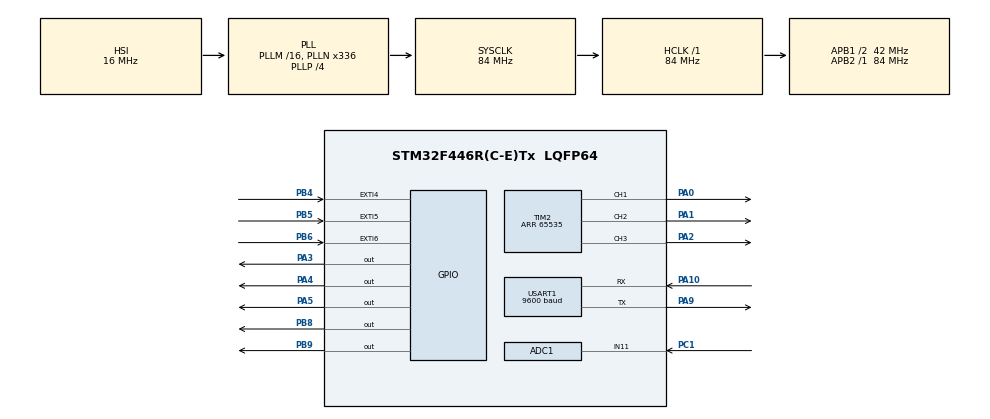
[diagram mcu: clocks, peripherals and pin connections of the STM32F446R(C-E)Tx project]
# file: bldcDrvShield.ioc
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ADC1.Channel-1\#ChannelRegularConversion=ADC_CHANNEL_11
ADC1.Channel-2\#ChannelRegularConversion=ADC_CHANNEL_11
ADC1.Channel-3\#ChannelRegularConversion=ADC_CHANNEL_11
ADC1.Channel-4\#ChannelRegularConversion=ADC_CHANNEL_11
ADC1.Channel-5\#ChannelRegularConversion=ADC_CHANNEL_11
ADC1.ContinuousConvMode=ENABLE
ADC1.EOCSelection=ADC_EOC_SEQ_CONV
ADC1.NbrOfConversion=5
ADC1.NbrOfConversionFlag=1
ADC1.Rank-1\#ChannelRegularConversion=1
ADC1.Rank-2\#ChannelRegularConversion=2
ADC1.Rank-3\#ChannelRegularConversion=3
ADC1.Rank-4\#ChannelRegularConversion=4
ADC1.Rank-5\#ChannelRegularConversion=5
ADC1.SamplingTime-1\#ChannelRegularConversion=ADC_SAMPLETIME_3CYCLES
ADC1.SamplingTime-2\#ChannelRegularConversion=ADC_SAMPLETIME_3CYCLES
ADC1.SamplingTime-3\#ChannelRegularConversion=ADC_SAMPLETIME_3CYCLES
ADC1.SamplingTime-4\#ChannelRegularConversion=ADC_SAMPLETIME_3CYCLES
ADC1.SamplingTime-5\#ChannelRegularConversion=ADC_SAMPLETIME_3CYCLES
ADC1.ScanConvMode=ENABLE
ADC1.master=1
Mcu.Family=STM32F4
Mcu.Name=STM32F446R(C-E)Tx
Mcu.Package=LQFP64
NVIC.EXTI4_IRQn=true\:0\:0\:false\:false\:true\:true\:true\:true
NVIC.EXTI9_5_IRQn=true\:0\:0\:false\:false\:true\:true\:true\:true
NVIC.PriorityGroup=NVIC_PRIORITYGROUP_0
NVIC.USART1_IRQn=true\:0\:0\:false\:false\:true\:true\:true\:true
PA0-WKUP.GPIO_Speed=GPIO_SPEED_FREQ_LOW
PA0-WKUP.Signal=S_TIM2_CH1_ETR
PA1.Signal=S_TIM2_CH2
PA10.Mode=Asynchronous
PA10.Signal=USART1_RX
PA13.GPIO_Label=TMS
PA13.Mode=Serial_Wire
PA13.Signal=SYS_JTMS-SWDIO
PA14.GPIO_Label=TCK
PA14.Mode=Serial_Wire
PA14.Signal=SYS_JTCK-SWCLK
PA2.Signal=S_TIM2_CH3
PA3.Signal=GPIO_Output
PA4.Signal=GPIO_Output
PA5.Signal=GPIO_Output
PA9.Mode=Asynchronous
PA9.Signal=USART1_TX
PB3.GPIO_Label=SWO
PB3.Signal=SYS_JTDO-SWO
PB4.GPIO_ModeDefaultEXTI=GPIO_MODE_IT_RISING_FALLING
PB4.GPIO_PuPd=GPIO_NOPULL
PB4.Signal=GPXTI4
PB5.GPIO_ModeDefaultEXTI=GPIO_MODE_IT_RISING_FALLING
PB5.GPIO_PuPd=GPIO_NOPULL
PB5.Signal=GPXTI5
PB6.GPIO_ModeDefaultEXTI=GPIO_MODE_IT_RISING_FALLING
PB6.GPIO_PuPd=GPIO_NOPULL
PB6.Signal=GPXTI6
PB8.Signal=GPIO_Output
PB9.Signal=GPIO_Output
PC1.Signal=ADCx_IN11
PC14-OSC32_IN.Mode=LSE-External-Oscillator
PC14-OSC32_IN.Signal=RCC_OSC32_IN
PC15-OSC32_OUT.Mode=LSE-External-Oscillator
PC15-OSC32_OUT.Signal=RCC_OSC32_OUT
PH0-OSC_IN.Mode=HSE-External-Oscillator
PH0-OSC_IN.Signal=RCC_OSC_IN
PH1-OSC_OUT.Mode=HSE-External-Oscillator
PH1-OSC_OUT.Signal=RCC_OSC_OUT
ProjectManager.HeapSize=0x200
ProjectManager.StackSize=0x400
ProjectManager.TargetToolchain=STM32CubeIDE
RCC.48MHZClocksFreq_Value=84000000
RCC.AHBFreq_Value=84000000
RCC.APB1CLKDivider=RCC_HCLK_DIV2
RCC.APB1Freq_Value=42000000
RCC.APB1TimFreq_Value=84000000
RCC.APB2Freq_Value=84000000
RCC.APB2TimFreq_Value=84000000
RCC.CortexFreq_Value=84000000
RCC.FLatency-AdvancedSettings=FLASH_LATENCY_2
RCC.HCLKFreq_Value=84000000
RCC.HSE_VALUE=8000000
RCC.HSI_VALUE=16000000
RCC.PLLN=336
RCC.PLLP=RCC_PLLP_DIV4
RCC.SYSCLKFreq_VALUE=84000000
RCC.SYSCLKSource=RCC_SYSCLKSOURCE_PLLCLK
RCC.USBFreq_Value=168000000
RCC.VCOOutputFreq_Value=336000000
SH.ADCx_IN11.0=ADC1_IN11,IN11
SH.S_TIM2_CH1_ETR.0=TIM2_CH1,PWM Generation1 CH1
SH.S_TIM2_CH2.0=TIM2_CH2,PWM Generation2 CH2
SH.S_TIM2_CH3.0=TIM2_CH3,PWM Generation3 CH3
TIM2.AutoReloadPreload=TIM_AUTORELOAD_PRELOAD_ENABLE
TIM2.Channel-PWM\ Generation1\ CH1=TIM_CHANNEL_1
TIM2.Channel-PWM\ Generation2\ CH2=TIM_CHANNEL_2
TIM2.Channel-PWM\ Generation3\ CH3=TIM_CHANNEL_3
TIM2.ClockDivision=TIM_CLOCKDIVISION_DIV1
TIM2.OCFastMode_PWM-PWM\ Generation1\ CH1=TIM_OCFAST_ENABLE
TIM2.OCFastMode_PWM-PWM\ Generation2\ CH2=TIM_OCFAST_ENABLE
TIM2.OCMode_PWM-PWM\ Generation1\ CH1=TIM_OCMODE_PWM1
TIM2.Period=65535
TIM2.TIM_MasterOutputTrigger=TIM_TRGO_UPDATE
USART1.BaudRate=9600
USART1.VirtualMode=VM_ASYNC
board=NUCLEO-F446RE

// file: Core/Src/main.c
/* USER CODE BEGIN Header */
/**
  ******************************************************************************
  * @file           : main.c
  * @brief          : Main program body
  ******************************************************************************
  * @attention
  *
  * Copyright (c) 2026 STMicroelectronics.
  * All rights reserved.
  *
  * This software is licensed under terms that can be found in the LICENSE file
  * in the root directory of this software component.
  * If no LICENSE file comes with this software, it is provided AS-IS.
  *
  ******************************************************************************
  */
/* USER CODE END Header */
#include "main.h"

/* USER CODE BEGIN Includes */
#include "appver.h"
#include "cmd.h"
#include "driver.h"
#include "test.h"
/* USER CODE END Includes */

/* USER CODE BEGIN PD */
#define IDLE_STATE 2048
#define POTMETER_TOLERANCE 32
/* USER CODE END PD */

ADC_HandleTypeDef hadc1;

TIM_HandleTypeDef htim2;

UART_HandleTypeDef huart1;

void SystemClock_Config(void);
static void MX_GPIO_Init(void);
static void MX_ADC1_Init(void);
static void MX_USART1_UART_Init(void);
static void MX_TIM2_Init(void);
/* USER CODE BEGIN PFP */

int _write(int fd, char *ptr, int len) {
	//HAL_UART_Transmit(&huart1, (uint8_t *) ptr, len, HAL_MAX_DELAY);
	HAL_UART_Transmit(&huart1, (uint8_t*) ptr, len, 1000);
	return len;
}

/* USER CODE END PFP */

/* USER CODE BEGIN 0 */

/************** NOTE on using GPIO PA2, PA3 and PA5 ***************************/
/*
 * The NUCLEO-F446RE Development board has excluded PA2 and PA3 from the
 * Morpho and Arduino extension connectors as the solder bridge (SB62 and SB63)
 * for these are open. The LED LD2 is connected to the PA5 as SB21 is closed.
 * So, to make use of these GPIOs the NUCLEO-F446RE Development board has been
 * modified in order to utilize these pins.
 *
 */

//
extern uint8_t gateDriverStates[6];
// mapping between hall states(index) and commutation states(values)
extern uint8_t hallStates[7];

int highSide[6] = {1,1,2,2,3,3};
extern uint8_t low_side[6];

int dutyCycle = 0;
int dcStart = 0;
int stopTest = 1;

enum State motorState = IDLE;
uint16_t hallState;
uint8_t hallStateChanged = 0;
/**
 * The interrupt service routine (ISR) is to drive the motor WHEN the user
 * input is not zero.
 * The following must be updated in the ISR.:
 * - The timer that controls the PWM signals
 * - Next Commutation State -> activating relevant driver transistors
 * - - PWM on high-side transistor
 *
 *
 */
void HAL_GPIO_EXTI_Callback(uint16_t GPIO_Pin) {
   uint8_t commutationState;
   uint16_t hallState = (GPIOB->IDR & 0x70) >> 4;

   // Switch off the low side transistors (signals inverted in the gate driver)
   GPIOA->ODR |= 0x38; //

   // If the motor is in starting mode, we'll just set the hallStateChange and
   // return and hope that the startup process can finish by it self...
   if ((motorState == STARTING_FORWARD) || (motorState == STARTING_REVERSE)) {
      hallStateChanged = 1;
      return;
   }
   // We now have a running motor and we'll determine the commutation step
   // to use.
   commutationState = hallStates[hallState];
   //printf("hallState=0x%x  comm=%d  lowside=0x%x\r\n", hallState, commutationState, low_side[commutationState]);

   if (motorState == RUNNING_REVERSE) {
      // reverse...
      // need to know if the decrement will give an none existent state (negative)...
      if (--commutationState < 0) {
         commutationState = 5;
      }
   }
   if (++commutationState > 5) {
      commutationState = 0;
   }

   // Using the initial user input for PWM settings update the pwmUpdate()
   // routine in steps until it matches the users input
   if (++dcStart < dutyCycle) {
      pwmUpdate(dcStart);
   }
   // and turn on the relevant high side transistor.
   pwmChannel(highSide[commutationState]);
   // Turn on the low side transistor...
   GPIOA->ODR = (GPIOA->ODR & ~(0x7 << 3)) | (low_side[commutationState]);
}

uint8_t UART1_rxBuffer = 0;
uint8_t cmdComplete;
char termInputBuffer[80];
int bytesReceived = 0;

void HAL_UART_RxCpltCallback(UART_HandleTypeDef *huart) {
    //uint8_t UARTnewLine = 10;
    if (UART1_rxBuffer == 13) {
        //HAL_UART_Transmit(&huart1, &UARTnewLine, 1, 100);
        if (bytesReceived > 0) {
            //HAL_GPIO_WritePin(LD2_GPIO_Port, LD2_Pin, GPIO_PIN_SET);

            executeCmd(&termInputBuffer[0], bytesReceived);
            bytesReceived = 0;
            memset(termInputBuffer, 0, 80);
            //HAL_GPIO_WritePin(LD2_GPIO_Port, LD2_Pin, GPIO_PIN_RESET);
        } else {
            promt();
        }
        HAL_UART_Receive_IT(&huart1, &UART1_rxBuffer, 1);
        return;
    }
    HAL_UART_Transmit(&huart1, &UART1_rxBuffer, 1, 100);
    termInputBuffer[bytesReceived] = UART1_rxBuffer;
    bytesReceived++;
    // re-trigger the interrupt...
    HAL_UART_Receive_IT(&huart1, &UART1_rxBuffer, 1);
}

/**
 * getUserInput reads the voltage on the center pin of a 10k potentiometer
 * connected to gnd and vcc, by the use of the mcu's adc.
 * The adc value is then converted to a percentage value of the max adc value,
 * which is then used as a Duty Cycle value for the PWM signals.
 */
int c = 0;
void getUserInput() {
   uint32_t adcReading = 0;
   float dc = 0;

   adcReading = HAL_ADC_GetValue(&hadc1);

   if ((adcReading < (IDLE_STATE + POTMETER_TOLERANCE)) && (adcReading > (IDLE_STATE - POTMETER_TOLERANCE))) {
      if (motorState != IDLE) {
         motorState = IDLE;
         // Silence the high side gate signals...
         stop();

         printf("Motor is halted...");
         promt();
      }
      // some kind of indication that the motor is idle
      if (++c > 19) {
         printf("Motor is idle...");
         promt();
         c = 0;
      }

      return;
   }

   dc = 200*((adcReading-2048.0)/4096.0);

   if (motorState == IDLE) {
      if (dc < 0) {
         motorState = STARTING_REVERSE;
         printf("Starting the Motor in reverse...\r\n");
      }
      else {
         motorState = STARTING_FORWARD;
         printf("Starting the Motor forward...\r\n");
      }

      if (dc < 0)
         dc = dc*(-1);

      start((int)dc);
   }
   // The following code is used for TEST of the start up sequence...
   else if ((motorState == STARTING_FORWARD) || (motorState == STARTING_REVERSE)) {
      if (dc < 0)
         dc = dc*(-1);

      if ((dc > dutyCycle + 2) || (dc < dutyCycle - 2)) { // Only interested in change in user input.
         // If dc is more than the previous set dutyCycle plus some tolerance, then update the dytyCycle.
         // If dc is less than the previous set dutyCycle minus some tolerance, then update the dytyCycle.
         dutyCycle = (int)dc;
         //printf("ADC Readings: %ld = ", adcReading);
         //printf("dc: %.3f \r\n", dc);
         printf("User input(start): %d%% Duty Cycle\r\n", (int) dutyCycle);
         start((int)dc);
      }
   }
   // The following code is to handle dynamic motor speed operation.
   else if ((motorState == RUNNING_FORWARD) || (motorState == RUNNING_REVERSE)) {
      if (dc < 0)
         dc = dc*(-1);

      if ((dc > dutyCycle + 1) || (dc < dutyCycle - 1)) { // Only interested in change in user input.
         // If dc is more than the previous set dutyCycle plus some tolerance, then update the dytyCycle.
         // If dc is less than the previous set dutyCycle minus some tolerance, then update the dytyCycle.
         dutyCycle = (int)dc;
         //printf("ADC Readings: %ld = ", adcReading);
         //printf("dc: %.3f \r\n", dc);
         printf("User input: %d%% Duty Cycle\r\n", (int) dutyCycle);
      }
      pwmUpdate(dutyCycle);
   }
   // The following code is for TESTING the PWM dynamics...
   else if (motorState == TESTING) {
     runTest((int)dc);
   }
}

/* USER CODE END 0 */

int main(void)
{

  /* MCU Configuration--------------------------------------------------------*/

  /* Reset of all peripherals, Initializes the Flash interface and the Systick. */
  HAL_Init();

  /* Configure the system clock */
  SystemClock_Config();

  /* Initialize all configured peripherals */
  MX_GPIO_Init();
  MX_ADC1_Init();
  MX_USART1_UART_Init();
  MX_TIM2_Init();
  /* USER CODE BEGIN 2 */
  HAL_UART_Receive_IT(&huart1, &UART1_rxBuffer, 1);

  HAL_ADC_Start(&hadc1);
  HAL_TIM_Base_Start(&htim2);
  //HAL_TIM_PWM_Start(&htim2, TIM_CHANNEL_3);
  // Output debug information
  //debug_PA2_configuration();

  printf("\r\n>>> BLDC driver Ver. %d.%d >>>", MAJOR_VERSION, MINOR_VERSION);
  printf("\r\n>>> Build Number: %d, Build Date: %s >>>\r\n", BUILD, BUILD_DATE_AND_TIME);
  promt();
  /* USER CODE END 2 */

  /* Infinite loop */
  while (1)
  {

    /* USER CODE BEGIN 3 */
    // Polling for user potmeter-input...
    getUserInput();
    HAL_Delay(1000); // using 5 sec for test without motor...

    __WFI(); // optional: wait for interrupt to save power
  }

  /* USER CODE END 3 */
}

void SystemClock_Config(void)
{
  RCC_OscInitTypeDef RCC_OscInitStruct = {0};
  RCC_ClkInitTypeDef RCC_ClkInitStruct = {0};

  /** Configure the main internal regulator output voltage
  */
  __HAL_RCC_PWR_CLK_ENABLE();
  __HAL_PWR_VOLTAGESCALING_CONFIG(PWR_REGULATOR_VOLTAGE_SCALE3);

  /** Initializes the RCC Oscillators according to the specified parameters
  * in the RCC_OscInitTypeDef structure.
  */
  RCC_OscInitStruct.OscillatorType = RCC_OSCILLATORTYPE_HSI;
  RCC_OscInitStruct.HSIState = RCC_HSI_ON;
  RCC_OscInitStruct.HSICalibrationValue = RCC_HSICALIBRATION_DEFAULT;
  RCC_OscInitStruct.PLL.PLLState = RCC_PLL_ON;
  RCC_OscInitStruct.PLL.PLLSource = RCC_PLLSOURCE_HSI;
  RCC_OscInitStruct.PLL.PLLM = 16;
  RCC_OscInitStruct.PLL.PLLN = 336;
  RCC_OscInitStruct.PLL.PLLP = RCC_PLLP_DIV4;
  RCC_OscInitStruct.PLL.PLLQ = 2;
  RCC_OscInitStruct.PLL.PLLR = 2;
  if (HAL_RCC_OscConfig(&RCC_OscInitStruct) != HAL_OK)
  {
    Error_Handler();
  }

  /** Initializes the CPU, AHB and APB buses clocks
  */
  RCC_ClkInitStruct.ClockType = RCC_CLOCKTYPE_HCLK|RCC_CLOCKTYPE_SYSCLK
                              |RCC_CLOCKTYPE_PCLK1|RCC_CLOCKTYPE_PCLK2;
  RCC_ClkInitStruct.SYSCLKSource = RCC_SYSCLKSOURCE_PLLCLK;
  RCC_ClkInitStruct.AHBCLKDivider = RCC_SYSCLK_DIV1;
  RCC_ClkInitStruct.APB1CLKDivider = RCC_HCLK_DIV2;
  RCC_ClkInitStruct.APB2CLKDivider = RCC_HCLK_DIV1;

  if (HAL_RCC_ClockConfig(&RCC_ClkInitStruct, FLASH_LATENCY_2) != HAL_OK)
  {
    Error_Handler();
  }
}

static void MX_ADC1_Init(void)
{

  ADC_ChannelConfTypeDef sConfig = {0};

  /** Configure the global features of the ADC (Clock, Resolution, Data Alignment and number of conversion)
  */
  hadc1.Instance = ADC1;
  hadc1.Init.ClockPrescaler = ADC_CLOCK_SYNC_PCLK_DIV4;
  hadc1.Init.Resolution = ADC_RESOLUTION_12B;
  hadc1.Init.ScanConvMode = ENABLE;
  hadc1.Init.ContinuousConvMode = ENABLE;
  hadc1.Init.DiscontinuousConvMode = DISABLE;
  hadc1.Init.ExternalTrigConvEdge = ADC_EXTERNALTRIGCONVEDGE_NONE;
  hadc1.Init.ExternalTrigConv = ADC_SOFTWARE_START;
  hadc1.Init.DataAlign = ADC_DATAALIGN_RIGHT;
  hadc1.Init.NbrOfConversion = 5;
  hadc1.Init.DMAContinuousRequests = DISABLE;
  hadc1.Init.EOCSelection = ADC_EOC_SEQ_CONV;
  if (HAL_ADC_Init(&hadc1) != HAL_OK)
  {
    Error_Handler();
  }

  /** Configure for the selected ADC regular channel its corresponding rank in the sequencer and its sample time.
  */
  sConfig.Channel = ADC_CHANNEL_11;
  sConfig.Rank = 1;
  sConfig.SamplingTime = ADC_SAMPLETIME_3CYCLES;
  if (HAL_ADC_ConfigChannel(&hadc1, &sConfig) != HAL_OK)
  {
    Error_Handler();
  }

  /** Configure for the selected ADC regular channel its corresponding rank in the sequencer and its sample time.
  */
  sConfig.Rank = 2;
  if (HAL_ADC_ConfigChannel(&hadc1, &sConfig) != HAL_OK)
  {
    Error_Handler();
  }

  /** Configure for the selected ADC regular channel its corresponding rank in the sequencer and its sample time.
  */
  sConfig.Rank = 3;
  if (HAL_ADC_ConfigChannel(&hadc1, &sConfig) != HAL_OK)
  {
    Error_Handler();
  }

  /** Configure for the selected ADC regular channel its corresponding rank in the sequencer and its sample time.
  */
  sConfig.Rank = 4;
  if (HAL_ADC_ConfigChannel(&hadc1, &sConfig) != HAL_OK)
  {
    Error_Handler();
  }

  /** Configure for the selected ADC regular channel its corresponding rank in the sequencer and its sample time.
  */
  sConfig.Rank = 5;
  if (HAL_ADC_ConfigChannel(&hadc1, &sConfig) != HAL_OK)
  {
    Error_Handler();
  }

}

static void MX_TIM2_Init(void)
{

  TIM_MasterConfigTypeDef sMasterConfig = {0};
  TIM_OC_InitTypeDef sConfigOC = {0};

  htim2.Instance = TIM2;
  htim2.Init.Prescaler = 0;
  htim2.Init.CounterMode = TIM_COUNTERMODE_UP;
  htim2.Init.Period = 65535;
  htim2.Init.ClockDivision = TIM_CLOCKDIVISION_DIV1;
  htim2.Init.AutoReloadPreload = TIM_AUTORELOAD_PRELOAD_ENABLE;
  if (HAL_TIM_PWM_Init(&htim2) != HAL_OK)
  {
    Error_Handler();
  }
  sMasterConfig.MasterOutputTrigger = TIM_TRGO_UPDATE;
  sMasterConfig.MasterSlaveMode = TIM_MASTERSLAVEMODE_DISABLE;
  if (HAL_TIMEx_MasterConfigSynchronization(&htim2, &sMasterConfig) != HAL_OK)
  {
    Error_Handler();
  }
  sConfigOC.OCMode = TIM_OCMODE_PWM1;
  sConfigOC.Pulse = 0;
  sConfigOC.OCPolarity = TIM_OCPOLARITY_HIGH;
  sConfigOC.OCFastMode = TIM_OCFAST_ENABLE;
  if (HAL_TIM_PWM_ConfigChannel(&htim2, &sConfigOC, TIM_CHANNEL_1) != HAL_OK)
  {
    Error_Handler();
  }
  if (HAL_TIM_PWM_ConfigChannel(&htim2, &sConfigOC, TIM_CHANNEL_2) != HAL_OK)
  {
    Error_Handler();
  }
  sConfigOC.OCFastMode = TIM_OCFAST_DISABLE;
  if (HAL_TIM_PWM_ConfigChannel(&htim2, &sConfigOC, TIM_CHANNEL_3) != HAL_OK)
  {
    Error_Handler();
  }
  HAL_TIM_MspPostInit(&htim2);

}

static void MX_USART1_UART_Init(void)
{

  huart1.Instance = USART1;
  huart1.Init.BaudRate = 9600;
  huart1.Init.WordLength = UART_WORDLENGTH_8B;
  huart1.Init.StopBits = UART_STOPBITS_1;
  huart1.Init.Parity = UART_PARITY_NONE;
  huart1.Init.Mode = UART_MODE_TX_RX;
  huart1.Init.HwFlowCtl = UART_HWCONTROL_NONE;
  huart1.Init.OverSampling = UART_OVERSAMPLING_16;
  if (HAL_UART_Init(&huart1) != HAL_OK)
  {
    Error_Handler();
  }

}

static void MX_GPIO_Init(void)
{
  GPIO_InitTypeDef GPIO_InitStruct = {0};

  /* GPIO Ports Clock Enable */
  __HAL_RCC_GPIOC_CLK_ENABLE();
  __HAL_RCC_GPIOH_CLK_ENABLE();
  __HAL_RCC_GPIOA_CLK_ENABLE();
  __HAL_RCC_GPIOB_CLK_ENABLE();

  /*Configure GPIO pin Output Level */
  HAL_GPIO_WritePin(GPIOA, GPIO_PIN_3|GPIO_PIN_4|GPIO_PIN_5, GPIO_PIN_RESET);

  /*Configure GPIO pin Output Level */
  HAL_GPIO_WritePin(GPIOB, GPIO_PIN_8|GPIO_PIN_9, GPIO_PIN_RESET);

  /*Configure GPIO pins : PA3 PA4 PA5 */
  GPIO_InitStruct.Pin = GPIO_PIN_3|GPIO_PIN_4|GPIO_PIN_5;
  GPIO_InitStruct.Mode = GPIO_MODE_OUTPUT_PP;
  GPIO_InitStruct.Pull = GPIO_NOPULL;
  GPIO_InitStruct.Speed = GPIO_SPEED_FREQ_LOW;
  HAL_GPIO_Init(GPIOA, &GPIO_InitStruct);

  /*Configure GPIO pins : PB4 PB5 PB6 */
  GPIO_InitStruct.Pin = GPIO_PIN_4|GPIO_PIN_5|GPIO_PIN_6;
  GPIO_InitStruct.Mode = GPIO_MODE_IT_RISING_FALLING;
  GPIO_InitStruct.Pull = GPIO_NOPULL;
  HAL_GPIO_Init(GPIOB, &GPIO_InitStruct);

  /*Configure GPIO pins : PB8 PB9 */
  GPIO_InitStruct.Pin = GPIO_PIN_8|GPIO_PIN_9;
  GPIO_InitStruct.Mode = GPIO_MODE_OUTPUT_PP;
  GPIO_InitStruct.Pull = GPIO_NOPULL;
  GPIO_InitStruct.Speed = GPIO_SPEED_FREQ_LOW;
  HAL_GPIO_Init(GPIOB, &GPIO_InitStruct);

  /* EXTI interrupt init*/
  HAL_NVIC_SetPriority(EXTI4_IRQn, 0, 0);
  HAL_NVIC_EnableIRQ(EXTI4_IRQn);

  HAL_NVIC_SetPriority(EXTI9_5_IRQn, 0, 0);
  HAL_NVIC_EnableIRQ(EXTI9_5_IRQn);

}

void Error_Handler(void)
{
  __disable_irq();
  while (1)
  {
  }
}
